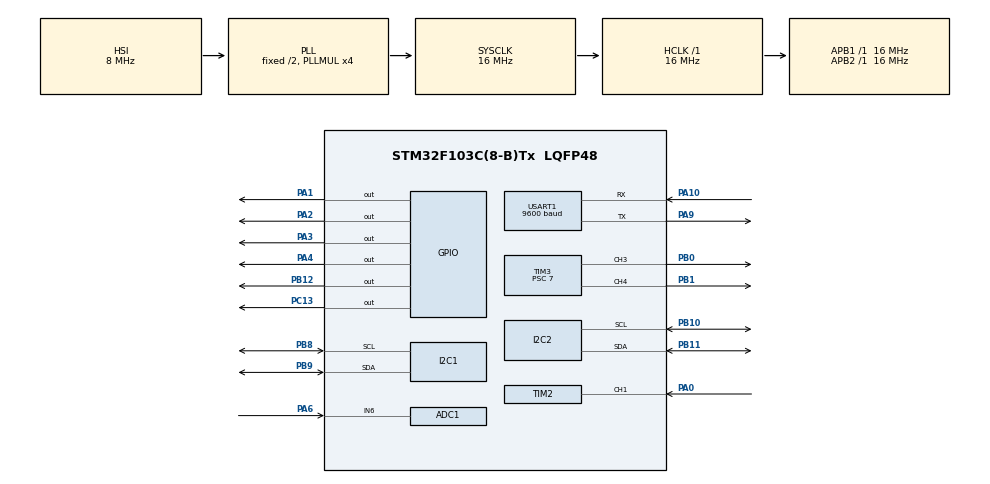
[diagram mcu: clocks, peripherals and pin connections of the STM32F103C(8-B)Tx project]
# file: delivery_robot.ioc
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ADC1.Channel-4\#ChannelRegularConversion=ADC_CHANNEL_6
ADC1.ContinuousConvMode=DISABLE
ADC1.NbrOfConversionFlag=1
ADC1.Rank-4\#ChannelRegularConversion=1
ADC1.SamplingTime-4\#ChannelRegularConversion=ADC_SAMPLETIME_1CYCLE_5
ADC1.master=1
Dma.ADC1.0.Direction=DMA_PERIPH_TO_MEMORY
Dma.ADC1.0.Instance=DMA1_Channel1
Dma.ADC1.0.MemDataAlignment=DMA_MDATAALIGN_HALFWORD
Dma.ADC1.0.MemInc=DMA_MINC_ENABLE
Dma.ADC1.0.Mode=DMA_CIRCULAR
Dma.ADC1.0.PeriphDataAlignment=DMA_PDATAALIGN_HALFWORD
Dma.ADC1.0.PeriphInc=DMA_PINC_DISABLE
Dma.ADC1.0.Priority=DMA_PRIORITY_LOW
Dma.Request0=ADC1
Mcu.Family=STM32F1
Mcu.Name=STM32F103C(8-B)Tx
Mcu.Package=LQFP48
NVIC.DMA1_Channel1_IRQn=true\:0\:0\:false\:false\:true\:false\:true\:true
NVIC.PriorityGroup=NVIC_PRIORITYGROUP_4
NVIC.TIM1_UP_IRQn=true\:0\:0\:false\:false\:true\:true\:true\:true
NVIC.TIM2_IRQn=true\:1\:0\:true\:false\:true\:true\:true\:true
NVIC.USART1_IRQn=true\:3\:0\:true\:false\:true\:true\:true\:true
PA0-WKUP.Signal=S_TIM2_CH1_ETR
PA1.Signal=GPIO_Output
PA10.Mode=Asynchronous
PA10.Signal=USART1_RX
PA13.Mode=Serial_Wire
PA13.Signal=SYS_JTMS-SWDIO
PA14.Mode=Serial_Wire
PA14.Signal=SYS_JTCK-SWCLK
PA2.Signal=GPIO_Output
PA3.Signal=GPIO_Output
PA4.Signal=GPIO_Output
PA6.Signal=ADCx_IN6
PA9.Mode=Asynchronous
PA9.Signal=USART1_TX
PB0.Signal=S_TIM3_CH3
PB1.Signal=S_TIM3_CH4
PB10.Mode=I2C
PB10.Signal=I2C2_SCL
PB11.Mode=I2C
PB11.Signal=I2C2_SDA
PB12.Signal=GPIO_Output
PB8.Mode=I2C
PB8.Signal=I2C1_SCL
PB9.Mode=I2C
PB9.Signal=I2C1_SDA
PC13-TAMPER-RTC.Signal=GPIO_Output
PD0-OSC_IN.Mode=HSE-External-Oscillator
PD0-OSC_IN.Signal=RCC_OSC_IN
PD1-OSC_OUT.Mode=HSE-External-Oscillator
PD1-OSC_OUT.Signal=RCC_OSC_OUT
ProjectManager.HeapSize=0x200
ProjectManager.StackSize=0x400
ProjectManager.TargetToolchain=STM32CubeIDE
RCC.AHBFreq_Value=16000000
RCC.APB1Freq_Value=16000000
RCC.APB1TimFreq_Value=16000000
RCC.APB2Freq_Value=16000000
RCC.APB2TimFreq_Value=16000000
RCC.HCLKFreq_Value=16000000
RCC.PLLMUL=RCC_PLL_MUL4
RCC.SYSCLKFreq_VALUE=16000000
RCC.SYSCLKSource=RCC_SYSCLKSOURCE_PLLCLK
RCC.USBFreq_Value=16000000
SH.ADCx_IN6.0=ADC1_IN6,IN6
SH.S_TIM2_CH1_ETR.0=TIM2_CH1,Input_Capture1_from_TI1
SH.S_TIM3_CH3.0=TIM3_CH3,PWM Generation3 CH3
SH.S_TIM3_CH4.0=TIM3_CH4,PWM Generation4 CH4
TIM1.Period=63999
TIM1.Prescaler=249
TIM2.Channel-Input_Capture1_from_TI1=TIM_CHANNEL_1
TIM2.Period=0xffff-1
TIM2.Prescaler=15
TIM3.Channel-PWM\ Generation3\ CH3=TIM_CHANNEL_3
TIM3.Channel-PWM\ Generation4\ CH4=TIM_CHANNEL_4
TIM3.Period=99
TIM3.Prescaler=7
USART1.BaudRate=9600
USART1.VirtualMode=VM_ASYNC
VP_TIM1_VS_ClockSourceINT.Mode=Internal
VP_TIM3_VS_ClockSourceINT.Mode=Internal
board=custom

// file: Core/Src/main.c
/* USER CODE BEGIN Header */
/**
  ******************************************************************************
  * @file           : main.c
  * @brief          : Main program body
  ******************************************************************************
  * @attention
  *
  * Copyright (c) 2023 STMicroelectronics.
  * All rights reserved.
  *
  * This software is licensed under terms that can be found in the LICENSE file
  * in the root directory of this software component.
  * If no LICENSE file comes with this software, it is provided AS-IS.
  *
  ******************************************************************************
  */
/* USER CODE END Header */
#include "main.h"

/* USER CODE BEGIN Includes */
#include "MPU6050.h"
#include "i2c-lcd.h"
#include "string.h"
#include "math.h"
#include "stdio.h"
#include "stdlib.h"
#include "stdbool.h"
#define TRIG_PIN GPIO_PIN_12
#define TRIG_PORT GPIOB
/* USER CODE END Includes */

ADC_HandleTypeDef hadc1;
DMA_HandleTypeDef hdma_adc1;

I2C_HandleTypeDef hi2c1;
I2C_HandleTypeDef hi2c2;

TIM_HandleTypeDef htim1;
TIM_HandleTypeDef htim2;
TIM_HandleTypeDef htim3;

UART_HandleTypeDef huart1;

/* USER CODE BEGIN PV */
void DISTANCE_LCD(uint32_t);
void processingADC();
uint8_t HCSR04_Read(void);
int changeSpeed(int,int);
void controlSpeed(void);
void driving(void);
void rotate(void);
void DISTANCE(void);
void CAR_STOP(void);
void MPU6050(void);
#define FORWARD_0 0
#define FORWARD_1 1
#define FORWARD_2 2
int routes[3]={FORWARD_0, FORWARD_1,FORWARD_2};
int currentRoute = FORWARD_0;
//////////////////////
//hcsr04
uint32_t IC_Val1 =0;
uint32_t IC_Val2=0;
uint32_t Difference=0;
uint8_t Is_First_Captured =0;
uint8_t Distance =0;
float Dist =0.0;
uint8_t r_data;
char notiString[15]={0};
char data[15]={0};
bool isFinish =false;
bool finishRoute = false;
int routePlanning =1;
//For MPU6050 initialize
float Ax, Ay, Az; //linear acceleration
float Gx, Gy, Gz; //angular velocity
double accAngleX, accAngleY, gyroAngleX, gyroAngleY, gyroAngleZ;
float roll, pitch, yaw;
double AccErrorX, AccErrorY, GyroErrorX, GyroErrorY, GyroErrorZ;
int c=0;
int i=0;

const int maxSpeed = 85;  //78
const int minSpeed = 65;   //65
double angle; //due to how I orientated my MPU6050 on my car, angle = roll
double targetAngle = 0;
int equilibriumSpeed = 75;  //71
int leftSpeedVal;
int rightSpeedVal;
bool isDriving = false; //it the car driving forward OR rotate/stationary
bool prevIsDriving = true; //equals isDriving in the previous iteration of void loop()
//bool paused = false; //is the program paused
float elapsedTime, currentTime, previousTime;
int square =0;
uint32_t readvalue;
// UART transmit buffer
char uartTxBuffer[2] ={};
static int countStraight;
int targetGyroX;

/* USER CODE END PV */

void SystemClock_Config(void);
static void MX_GPIO_Init(void);
static void MX_DMA_Init(void);
static void MX_I2C1_Init(void);
static void MX_I2C2_Init(void);
static void MX_TIM3_Init(void);
static void MX_USART1_UART_Init(void);
static void MX_ADC1_Init(void);
static void MX_TIM1_Init(void);
static void MX_TIM2_Init(void);

/* USER CODE BEGIN 0 */

void HAL_TIM_PeriodElapsedCallback(TIM_HandleTypeDef* htim)
{
	if (htim->Instance == TIM1) {
		uint32_t detect ;
		 processingADC();
         if(readvalue<=3100){
        	 detect =0;
         }else{
        	 detect =1;
         }
		snprintf(uartTxBuffer, 2,"%lu", detect );
	    HAL_UART_Transmit(&huart1, (uint8_t*)uartTxBuffer, strlen(uartTxBuffer), 500);
	    DISTANCE_LCD(detect);
	 }
	else if(htim->Instance == TIM2){
		 Dist = HCSR04_Read();
	 }

}

void HAL_TIM_IC_CaptureCallback(TIM_HandleTypeDef *htim)
{
	if (htim->Channel == HAL_TIM_ACTIVE_CHANNEL_1)  // if the interrupt source is channel1
	{
		if (Is_First_Captured==0) // if the first value is not captured
		{
			IC_Val1 = HAL_TIM_ReadCapturedValue(htim, TIM_CHANNEL_1); // read the first value
			Is_First_Captured = 1;  // set the first captured as true
			// Now change the polarity to falling edge
			__HAL_TIM_SET_CAPTUREPOLARITY(htim, TIM_CHANNEL_1, TIM_INPUTCHANNELPOLARITY_FALLING);
		}

		else if (Is_First_Captured==1)   // if the first is already captured
		{
			IC_Val2 = HAL_TIM_ReadCapturedValue(htim, TIM_CHANNEL_1);  // read second value
			__HAL_TIM_SET_COUNTER(htim, 0);  // reset the counter

			if (IC_Val2 > IC_Val1)
			{
				Difference = IC_Val2-IC_Val1;
			}

			else if (IC_Val1 > IC_Val2)
			{
				Difference = (0xffff - IC_Val1) + IC_Val2;
			}

			Distance = Difference * .034/2;
			Is_First_Captured = 0; // set it back to false

			// set polarity to rising edge
			__HAL_TIM_SET_CAPTUREPOLARITY(htim, TIM_CHANNEL_1, TIM_INPUTCHANNELPOLARITY_RISING);
			__HAL_TIM_DISABLE_IT(&htim2, TIM_IT_CC1);
		}
	}
}

void delay(uint16_t time)
{
	__HAL_TIM_SET_COUNTER(&htim2,0);
	while(__HAL_TIM_GET_COUNTER(&htim2)<time);
}

uint8_t HCSR04_Read (void){
	HAL_GPIO_WritePin(TRIG_PORT, TRIG_PIN, GPIO_PIN_SET);  // pull the TRIG pin HIGH
	delay(10);  // wait for 10 us
	HAL_GPIO_WritePin(TRIG_PORT, TRIG_PIN, GPIO_PIN_RESET);  // pull the TRIG pin low
	__HAL_TIM_ENABLE_IT(&htim2, TIM_IT_CC1);
	return Distance;
}

void DISTANCE_LCD(uint32_t status){
	lcd_goto_XY(2, 0);
	// Clear the previous message
	lcd_send_string("                ");
	switch (status) {
		case 0:
			sprintf(notiString,"NO_PACKAGE");
			break;
		case 1:
			sprintf(notiString,"DELIVERY");
			break;
		default:
			break;
	}
	lcd_goto_XY(2, 0);
	lcd_send_string(notiString);
}

void HAL_UART_RxCpltCallback(UART_HandleTypeDef *huart){
	if(huart->Instance ==USART1){
		//START ROBOT FOR DESTINATION A
		if(r_data == 'a'){
			isDriving =true;
		//START ROBOT FOR DESTINATION B
		}else if(r_data == 'b'){
			isDriving =true;
		//START ROBOT FOR DESTINATION C
		}else if(r_data == 'c'){
			isDriving =true;
			//angleTurnLeft();

		}
		HAL_UART_Receive_IT(&huart1, &r_data, 1);
	}

}

void angleTurnLeft(){
	targetAngle += 90;
	if (targetAngle > 180){
	targetAngle -= 360;
	}
    isFinish =true;
	isDriving = false;
}

void angleTurnRight(){
	targetAngle -= 90;
	if (targetAngle < -180){
	targetAngle += 360;
	}
	isFinish =true;
	isDriving = false;
}

void CAR_FORWARD(){
	HAL_GPIO_WritePin(GPIOA, GPIO_PIN_1, GPIO_PIN_RESET);   //Start for first motor clock wise rotation
	HAL_GPIO_WritePin(GPIOA, GPIO_PIN_2, GPIO_PIN_SET);
	HAL_GPIO_WritePin(GPIOA, GPIO_PIN_3, GPIO_PIN_RESET);   //Start for second motor clock wise rotation
	HAL_GPIO_WritePin(GPIOA, GPIO_PIN_4, GPIO_PIN_SET);
}

void CAR_TURN_RIGHT(){
	HAL_GPIO_WritePin(GPIOA, GPIO_PIN_1, GPIO_PIN_SET);   //Start for FIRST motor clock wise rotation
	HAL_GPIO_WritePin(GPIOA, GPIO_PIN_2, GPIO_PIN_RESET);
	HAL_GPIO_WritePin(GPIOA, GPIO_PIN_3, GPIO_PIN_RESET);   //Start for SECOND motor clock wise rotation
	HAL_GPIO_WritePin(GPIOA, GPIO_PIN_4, GPIO_PIN_SET);
}
void CAR_TURN_LEFT(){
	HAL_GPIO_WritePin(GPIOA, GPIO_PIN_1, GPIO_PIN_RESET);   //Start for FIRST motor clock wise rotation
	HAL_GPIO_WritePin(GPIOA, GPIO_PIN_2, GPIO_PIN_SET);
	HAL_GPIO_WritePin(GPIOA, GPIO_PIN_3, GPIO_PIN_SET);   //Start for SECOND motor clock wise rotation
	HAL_GPIO_WritePin(GPIOA, GPIO_PIN_4, GPIO_PIN_RESET);
}
void CAR_STOP(void){
	HAL_GPIO_WritePin(GPIOA, GPIO_PIN_1, GPIO_PIN_RESET);
	HAL_GPIO_WritePin(GPIOA, GPIO_PIN_2, GPIO_PIN_RESET);
	HAL_GPIO_WritePin(GPIOA, GPIO_PIN_3, GPIO_PIN_RESET);
	HAL_GPIO_WritePin(GPIOA, GPIO_PIN_4, GPIO_PIN_RESET);
	__HAL_TIM_SET_COMPARE(&htim3,TIM_CHANNEL_3,0);
	__HAL_TIM_SET_COMPARE(&htim3,TIM_CHANNEL_4,0);
}

void driving(){
	i++;
	double deltaAngle = angle - targetAngle ; //rounding is neccessary, since you never get exact values in reality
	CAR_FORWARD();
    if(deltaAngle !=0){
    	controlSpeed();
    	rightSpeedVal = equilibriumSpeed;
    	__HAL_TIM_SET_COMPARE(&htim3,TIM_CHANNEL_3,leftSpeedVal);
    	__HAL_TIM_SET_COMPARE(&htim3,TIM_CHANNEL_4,rightSpeedVal);
    }
}

void controlSpeed(){
  double deltaAngle =  angle - targetAngle;
  if(deltaAngle>=2){
	  leftSpeedVal = changeSpeed(leftSpeedVal, round(deltaAngle));
  }else if (deltaAngle<=-2){
	  leftSpeedVal = changeSpeed(leftSpeedVal, round(deltaAngle));
  }
  else{
	  leftSpeedVal = equilibriumSpeed;
	  rightSpeedVal = equilibriumSpeed;
  }

}

void rotate() {
    double deltaAngle = angle - targetAngle;
    int targetGyroX;
    if (abs(deltaAngle) <=1.5) {
        CAR_STOP();
        if (isFinish) {
           // HAL_Delay(500);
            isFinish =false;
            if(routePlanning==1){
                   currentRoute++;
            }else if(routePlanning ==2){
                   currentRoute--;
            }
                   isDriving = true;
         }
        if(finishRoute){
        	finishRoute =false;
        	isDriving=true;
        }

    } else {
    	 if (angle > targetAngle) {
    	            CAR_TURN_RIGHT();
    	} else if (angle < targetAngle) {
    	            CAR_TURN_LEFT();
    	}
        // Adjust target gyroscopic measurement
        if (abs(deltaAngle) < 45) { //10
        	targetGyroX = 2* abs(deltaAngle);

        } else {
        	targetGyroX =20;
        }
        // Proportional control adjustment
        double error = targetGyroX - abs(Gx);
        double adjustment = 0.5 * error;
        if (angle > targetAngle) {
              leftSpeedVal = changeSpeed(leftSpeedVal, -1 + adjustment);

        } else {
              leftSpeedVal = changeSpeed(leftSpeedVal, +1 + adjustment);
                     }
        rightSpeedVal = leftSpeedVal;
        __HAL_TIM_SET_COMPARE(&htim3, TIM_CHANNEL_3, leftSpeedVal);
        __HAL_TIM_SET_COMPARE(&htim3, TIM_CHANNEL_4, rightSpeedVal);
    }

}

int changeSpeed(int motorSpeed, int increment){
	motorSpeed +=increment;
	if(motorSpeed > maxSpeed){
			motorSpeed = maxSpeed;
	}else if(motorSpeed <minSpeed){
		motorSpeed = minSpeed ;
	}
	return motorSpeed;
}

void calculateError(){
	float Q = 0.01;  // Process noise covariance
	float R = 0.1;   // Measurement noise covariance

	// Initialize Kalman filter for X-axis accelerometer
	float xAccel = 0.0;  // Estimated state
	float PAccel = 0.0;  // Estimated error covariance

	// Initialize Kalman filter for Y-axis accelerometer
	float yAccel = 0.0;  // Estimated state
	float YAccel = 0.0;  // Estimated error covariance
	// Initialize Kalman filter for Z-axis accelerometer
    float zAccel = 0.0;  // Estimated state
    float ZAccel = 0.0;  // Estimated error covariance
	c = 0;
	  while (c < 200) {
	    MPU6050_Read_Accel(&Ax, &Ay, &Az);
	    HAL_Delay(1);
	    // Apply Kalman filter to X-axis accelerometer reading
	            float xAccel_pred = xAccel;
	           // float PAccel_pred = PAccel + Q;
	            float KAccel =PAccel + Q / (PAccel + Q + R);
	            xAccel = xAccel_pred + KAccel * (Ax - xAccel_pred);
	            PAccel = (1 - KAccel) * PAccel + Q;
	    // Apply Kalman filter to Y-axis accelerometer reading
	            float yAccel_pred = yAccel;
	           // float YAccel_pred = YAccel + Q;
                float KAccelY = YAccel + Q / (YAccel + Q + R);
	            yAccel = yAccel_pred + KAccelY * (Ay - yAccel_pred);
	            YAccel = (1 - KAccelY) * YAccel + Q;
	   // Apply Kalman filter to Z-axis accelerometer reading
	            float zAccel_pred = zAccel;
	            //float ZAccel_pred = ZAccel + Q;
	            float KAccelZ =ZAccel + Q / (ZAccel + Q + R);
	            zAccel = yAccel_pred + KAccelY * (Az - zAccel_pred);
	            ZAccel = (1 - KAccelZ) * ZAccel + Q;
	    // Sum all readings
	    AccErrorX += (atan((yAccel)/sqrt(pow((xAccel),2)+pow((zAccel),2)))*180/M_PI);
	    AccErrorY += (atan(-1*(xAccel)/sqrt(pow((yAccel),2)+pow((zAccel), 2)))*180/M_PI);
	    c++;
	  }
	  //Divide the sum by 200 to get the error value, since expected value of reading is zero
	  AccErrorX = AccErrorX/200.0;
	  AccErrorY = AccErrorY/200.0;
	  c = 0;

	  // Read gyro values 200 times
	    while (c < 200) {
	      MPU6050_Read_Gyro(&Gx, &Gy, &Gz);
	      HAL_Delay(1);
	      // Sum all readings
	      GyroErrorX += Gx;
	      GyroErrorY += Gy;
	      GyroErrorZ += Gz;
	      c++;
	    }
	    //Divide the sum by 200 to get the error value
	    GyroErrorX = GyroErrorX / 200.0;
	    GyroErrorY = GyroErrorY / 200.0;
	    GyroErrorZ = GyroErrorZ / 200.0;

}

void goForwardandLeft(int numberSquare, int time){
	//NUMBERSQUARE is the number of bricks robot wants to go
	//i is the time for robot go on 2 bricks and go on
	if(square <=numberSquare){
	if(Dist >15){
		if(i<time){
			if (abs(angle-targetAngle) <2){  //3
					          if (countStraight < 20){
					            countStraight ++;
					          } else {
					            countStraight = 0;
					            equilibriumSpeed = leftSpeedVal;
					          }
		    }else {
				countStraight = 0;
			}
			driving();
		}else{
			square+=4;
			i=0;
		}
	}else{
		CAR_STOP();
	}
	}else{
		square = 0;
		if((routePlanning ==1) && (currentRoute <2)){
			angleTurnLeft();
		}
		//CHECK WHEN COMPLETE THE FIRST ROUTE , ROBOT HAS BEEN FINISHED THE FIRST ROUTE THAT LEADS SECOND ROUTE
	    if((currentRoute ==2) && (routePlanning ==1)){
			isDriving = false;
			finishRoute =true;
	    }
		if((routePlanning ==2)){
			angleTurnRight();
		}

	}
}

void processing(){
	static int count;
				  if (count <6){
				    count ++;
				  } else {
				    count = 0;
				      if (isDriving != prevIsDriving){
				          leftSpeedVal = equilibriumSpeed;
				          countStraight = 0;
				      }
                      //START FOR PATH PLANNING A-B-C
					  if (isDriving) {
						  switch (currentRoute) {
							case FORWARD_0:
									goForwardandLeft(16,35); //20

								break;
							case FORWARD_1:
								goForwardandLeft(8, 20); //10
				                break;
							case FORWARD_2:
								if(r_data =='a'){
									goForwardandLeft(16, 33);
								}else if(r_data =='b'){
									goForwardandLeft(12, 20);
								}else if(r_data =='c'){
									goForwardandLeft(4, 12); //6
								}
			                    break;
						}
					  }else {
						//WHEN FINISHING FIRST ROUTE, SET ANGLE TO MAIN NAVIGATION AND START FOR SECOND ROUTE
					  	if(finishRoute){
					  		targetAngle = 0;
					  		routePlanning = 2 ;
					  	}
					  	if((routePlanning ==2)&& (currentRoute ==0)){
					  			targetAngle =0;
					  			}

					  	//WHEN DO NOTHING
					  	rotate();
					  }
					prevIsDriving = isDriving;

				  }

}

void setupMPU6050(){

	    // === Read accelerator (on the MPU6050) data === //
		MPU6050_Read_Accel(&Ax, &Ay, &Az);
		HAL_Delay(1);
		// Calculating Roll and Pitch from the accelerometer data
		accAngleX = (atan((Ay)/sqrt(pow((Ax), 2) + pow((Az), 2)))*180/ M_PI)- AccErrorX; //AccErrorX is calculated in the calculateError() function;
		accAngleY = (atan(-1*(Ax) /sqrt(pow((Ay), 2) + pow((Az), 2)))*180/ M_PI)- AccErrorY;
		// === Read gyroscope (on the MPU6050) data === //
		previousTime = currentTime;
		currentTime = HAL_GetTick()*1000;
		elapsedTime = (currentTime - previousTime)/1000000.0;

		MPU6050_Read_Gyro(&Gx,&Gy,&Gz);
        HAL_Delay(1);
		// Correct the outputs with the calculated error values
		Gx -= GyroErrorX; //GyroErrorX is calculated in the calculateError() function
		Gy -= GyroErrorY;
		Gz -= GyroErrorZ;
		// Currently the raw values are in degrees per seconds, deg/s, so we need to multiply by sendonds (s) to get the angle in degrees
		gyroAngleX += Gx * elapsedTime; // deg/s * s = deg
		gyroAngleY += Gy * elapsedTime;
		yaw += Gz * elapsedTime;

		roll = 0.98 * gyroAngleX + 0.02	* accAngleX;
		pitch = 0.96 * gyroAngleY + 0.04 * accAngleY;
		angle = round(roll * 100) / 100;
}

void processingADC(){
	HAL_ADC_Start_DMA(&hadc1, &readvalue, 1);
}

/* USER CODE END 0 */

int main(void)
{

  /* MCU Configuration--------------------------------------------------------*/

  /* Reset of all peripherals, Initializes the Flash interface and the Systick. */
   HAL_Init();

  /* Configure the system clock */
  SystemClock_Config();

  /* Initialize all configured peripherals */
  MX_GPIO_Init();
  MX_DMA_Init();
  MX_I2C1_Init();
  MX_I2C2_Init();
  MX_TIM3_Init();
  MX_USART1_UART_Init();
  MX_ADC1_Init();
  MX_TIM1_Init();
  MX_TIM2_Init();
  /* USER CODE BEGIN 2 */
  lcd_init();
  lcd_send_string("DELIVERY ROBOT");
  MPU6050_init();
  calculateError();
  HAL_Delay(20);
  HAL_UART_Receive_IT(&huart1,&r_data,1);
  HAL_TIM_IC_Start_IT(&htim2, TIM_CHANNEL_1);
  HAL_TIM_Base_Start_IT(&htim2);
  HAL_TIM_Base_Start_IT(&htim1);                        //Interrupt for Data light sensor
  HAL_TIM_Base_Start(&htim3);							//Initialize stm32 timer 3
  HAL_TIM_PWM_Start(&htim3, TIM_CHANNEL_3);				//PB0 Start pwm second motor( 3-4) 100% duty cycle
  HAL_TIM_PWM_Start(&htim3, TIM_CHANNEL_4);				//PB1 Start pwm first motor( 1-2)  100% duty cycle
  currentTime = HAL_GetTick();

  /* USER CODE END 2 */

  /* Infinite loop */
  while (1)
  {
    /* USER CODE BEGIN 3 */
	setupMPU6050();
	processing();
  }
  /* USER CODE END 3 */
}

void SystemClock_Config(void)
{
  RCC_OscInitTypeDef RCC_OscInitStruct = {0};
  RCC_ClkInitTypeDef RCC_ClkInitStruct = {0};
  RCC_PeriphCLKInitTypeDef PeriphClkInit = {0};

  /** Initializes the RCC Oscillators according to the specified parameters
  * in the RCC_OscInitTypeDef structure.
  */
  RCC_OscInitStruct.OscillatorType = RCC_OSCILLATORTYPE_HSI;
  RCC_OscInitStruct.HSIState = RCC_HSI_ON;
  RCC_OscInitStruct.HSICalibrationValue = RCC_HSICALIBRATION_DEFAULT;
  RCC_OscInitStruct.PLL.PLLState = RCC_PLL_ON;
  RCC_OscInitStruct.PLL.PLLSource = RCC_PLLSOURCE_HSI_DIV2;
  RCC_OscInitStruct.PLL.PLLMUL = RCC_PLL_MUL4;
  if (HAL_RCC_OscConfig(&RCC_OscInitStruct) != HAL_OK)
  {
    Error_Handler();
  }

  /** Initializes the CPU, AHB and APB buses clocks
  */
  RCC_ClkInitStruct.ClockType = RCC_CLOCKTYPE_HCLK|RCC_CLOCKTYPE_SYSCLK
                              |RCC_CLOCKTYPE_PCLK1|RCC_CLOCKTYPE_PCLK2;
  RCC_ClkInitStruct.SYSCLKSource = RCC_SYSCLKSOURCE_PLLCLK;
  RCC_ClkInitStruct.AHBCLKDivider = RCC_SYSCLK_DIV1;
  RCC_ClkInitStruct.APB1CLKDivider = RCC_HCLK_DIV1;
  RCC_ClkInitStruct.APB2CLKDivider = RCC_HCLK_DIV1;

  if (HAL_RCC_ClockConfig(&RCC_ClkInitStruct, FLASH_LATENCY_0) != HAL_OK)
  {
    Error_Handler();
  }
  PeriphClkInit.PeriphClockSelection = RCC_PERIPHCLK_ADC;
  PeriphClkInit.AdcClockSelection = RCC_ADCPCLK2_DIV2;
  if (HAL_RCCEx_PeriphCLKConfig(&PeriphClkInit) != HAL_OK)
  {
    Error_Handler();
  }
}

static void MX_ADC1_Init(void)
{

  ADC_ChannelConfTypeDef sConfig = {0};

  /** Common config
  */
  hadc1.Instance = ADC1;
  hadc1.Init.ScanConvMode = ADC_SCAN_DISABLE;
  hadc1.Init.ContinuousConvMode = DISABLE;
  hadc1.Init.DiscontinuousConvMode = DISABLE;
  hadc1.Init.ExternalTrigConv = ADC_SOFTWARE_START;
  hadc1.Init.DataAlign = ADC_DATAALIGN_RIGHT;
  hadc1.Init.NbrOfConversion = 1;
  if (HAL_ADC_Init(&hadc1) != HAL_OK)
  {
    Error_Handler();
  }

  /** Configure Regular Channel
  */
  sConfig.Channel = ADC_CHANNEL_6;
  sConfig.Rank = ADC_REGULAR_RANK_1;
  sConfig.SamplingTime = ADC_SAMPLETIME_1CYCLE_5;
  if (HAL_ADC_ConfigChannel(&hadc1, &sConfig) != HAL_OK)
  {
    Error_Handler();
  }

}

static void MX_I2C1_Init(void)
{

  hi2c1.Instance = I2C1;
  hi2c1.Init.ClockSpeed = 100000;
  hi2c1.Init.DutyCycle = I2C_DUTYCYCLE_2;
  hi2c1.Init.OwnAddress1 = 0;
  hi2c1.Init.AddressingMode = I2C_ADDRESSINGMODE_7BIT;
  hi2c1.Init.DualAddressMode = I2C_DUALADDRESS_DISABLE;
  hi2c1.Init.OwnAddress2 = 0;
  hi2c1.Init.GeneralCallMode = I2C_GENERALCALL_DISABLE;
  hi2c1.Init.NoStretchMode = I2C_NOSTRETCH_DISABLE;
  if (HAL_I2C_Init(&hi2c1) != HAL_OK)
  {
    Error_Handler();
  }

}

static void MX_I2C2_Init(void)
{

  hi2c2.Instance = I2C2;
  hi2c2.Init.ClockSpeed = 100000;
  hi2c2.Init.DutyCycle = I2C_DUTYCYCLE_2;
  hi2c2.Init.OwnAddress1 = 0;
  hi2c2.Init.AddressingMode = I2C_ADDRESSINGMODE_7BIT;
  hi2c2.Init.DualAddressMode = I2C_DUALADDRESS_DISABLE;
  hi2c2.Init.OwnAddress2 = 0;
  hi2c2.Init.GeneralCallMode = I2C_GENERALCALL_DISABLE;
  hi2c2.Init.NoStretchMode = I2C_NOSTRETCH_DISABLE;
  if (HAL_I2C_Init(&hi2c2) != HAL_OK)
  {
    Error_Handler();
  }

}

static void MX_TIM1_Init(void)
{

  TIM_ClockConfigTypeDef sClockSourceConfig = {0};
  TIM_MasterConfigTypeDef sMasterConfig = {0};

  htim1.Instance = TIM1;
  htim1.Init.Prescaler = 249;
  htim1.Init.CounterMode = TIM_COUNTERMODE_UP;
  htim1.Init.Period = 63999;
  htim1.Init.ClockDivision = TIM_CLOCKDIVISION_DIV1;
  htim1.Init.RepetitionCounter = 0;
  htim1.Init.AutoReloadPreload = TIM_AUTORELOAD_PRELOAD_DISABLE;
  if (HAL_TIM_Base_Init(&htim1) != HAL_OK)
  {
    Error_Handler();
  }
  sClockSourceConfig.ClockSource = TIM_CLOCKSOURCE_INTERNAL;
  if (HAL_TIM_ConfigClockSource(&htim1, &sClockSourceConfig) != HAL_OK)
  {
    Error_Handler();
  }
  sMasterConfig.MasterOutputTrigger = TIM_TRGO_RESET;
  sMasterConfig.MasterSlaveMode = TIM_MASTERSLAVEMODE_DISABLE;
  if (HAL_TIMEx_MasterConfigSynchronization(&htim1, &sMasterConfig) != HAL_OK)
  {
    Error_Handler();
  }

}

static void MX_TIM2_Init(void)
{

  TIM_MasterConfigTypeDef sMasterConfig = {0};
  TIM_IC_InitTypeDef sConfigIC = {0};

  htim2.Instance = TIM2;
  htim2.Init.Prescaler = 15;
  htim2.Init.CounterMode = TIM_COUNTERMODE_UP;
  htim2.Init.Period = 0xffff-1;
  htim2.Init.ClockDivision = TIM_CLOCKDIVISION_DIV1;
  htim2.Init.AutoReloadPreload = TIM_AUTORELOAD_PRELOAD_DISABLE;
  if (HAL_TIM_IC_Init(&htim2) != HAL_OK)
  {
    Error_Handler();
  }
  sMasterConfig.MasterOutputTrigger = TIM_TRGO_RESET;
  sMasterConfig.MasterSlaveMode = TIM_MASTERSLAVEMODE_DISABLE;
  if (HAL_TIMEx_MasterConfigSynchronization(&htim2, &sMasterConfig) != HAL_OK)
  {
    Error_Handler();
  }
  sConfigIC.ICPolarity = TIM_INPUTCHANNELPOLARITY_RISING;
  sConfigIC.ICSelection = TIM_ICSELECTION_DIRECTTI;
  sConfigIC.ICPrescaler = TIM_ICPSC_DIV1;
  sConfigIC.ICFilter = 0;
  if (HAL_TIM_IC_ConfigChannel(&htim2, &sConfigIC, TIM_CHANNEL_1) != HAL_OK)
  {
    Error_Handler();
  }

}

static void MX_TIM3_Init(void)
{

  TIM_ClockConfigTypeDef sClockSourceConfig = {0};
  TIM_MasterConfigTypeDef sMasterConfig = {0};
  TIM_OC_InitTypeDef sConfigOC = {0};

  htim3.Instance = TIM3;
  htim3.Init.Prescaler = 7;
  htim3.Init.CounterMode = TIM_COUNTERMODE_UP;
  htim3.Init.Period = 99;
  htim3.Init.ClockDivision = TIM_CLOCKDIVISION_DIV1;
  htim3.Init.AutoReloadPreload = TIM_AUTORELOAD_PRELOAD_DISABLE;
  if (HAL_TIM_Base_Init(&htim3) != HAL_OK)
  {
    Error_Handler();
  }
  sClockSourceConfig.ClockSource = TIM_CLOCKSOURCE_INTERNAL;
  if (HAL_TIM_ConfigClockSource(&htim3, &sClockSourceConfig) != HAL_OK)
  {
    Error_Handler();
  }
  if (HAL_TIM_PWM_Init(&htim3) != HAL_OK)
  {
    Error_Handler();
  }
  sMasterConfig.MasterOutputTrigger = TIM_TRGO_RESET;
  sMasterConfig.MasterSlaveMode = TIM_MASTERSLAVEMODE_DISABLE;
  if (HAL_TIMEx_MasterConfigSynchronization(&htim3, &sMasterConfig) != HAL_OK)
  {
    Error_Handler();
  }
  sConfigOC.OCMode = TIM_OCMODE_PWM1;
  sConfigOC.Pulse = 0;
  sConfigOC.OCPolarity = TIM_OCPOLARITY_HIGH;
  sConfigOC.OCFastMode = TIM_OCFAST_DISABLE;
  if (HAL_TIM_PWM_ConfigChannel(&htim3, &sConfigOC, TIM_CHANNEL_3) != HAL_OK)
  {
    Error_Handler();
  }
  if (HAL_TIM_PWM_ConfigChannel(&htim3, &sConfigOC, TIM_CHANNEL_4) != HAL_OK)
  {
    Error_Handler();
  }
  HAL_TIM_MspPostInit(&htim3);

}

static void MX_USART1_UART_Init(void)
{

  huart1.Instance = USART1;
  huart1.Init.BaudRate = 9600;
  huart1.Init.WordLength = UART_WORDLENGTH_8B;
  huart1.Init.StopBits = UART_STOPBITS_1;
  huart1.Init.Parity = UART_PARITY_NONE;
  huart1.Init.Mode = UART_MODE_TX_RX;
  huart1.Init.HwFlowCtl = UART_HWCONTROL_NONE;
  huart1.Init.OverSampling = UART_OVERSAMPLING_16;
  if (HAL_UART_Init(&huart1) != HAL_OK)
  {
    Error_Handler();
  }

}

static void MX_DMA_Init(void)
{

  /* DMA controller clock enable */
  __HAL_RCC_DMA1_CLK_ENABLE();

  /* DMA interrupt init */
  /* DMA1_Channel1_IRQn interrupt configuration */
  HAL_NVIC_SetPriority(DMA1_Channel1_IRQn, 0, 0);
  HAL_NVIC_EnableIRQ(DMA1_Channel1_IRQn);

}

static void MX_GPIO_Init(void)
{
  GPIO_InitTypeDef GPIO_InitStruct = {0};

  /* GPIO Ports Clock Enable */
  __HAL_RCC_GPIOC_CLK_ENABLE();
  __HAL_RCC_GPIOD_CLK_ENABLE();
  __HAL_RCC_GPIOA_CLK_ENABLE();
  __HAL_RCC_GPIOB_CLK_ENABLE();

  /*Configure GPIO pin Output Level */
  HAL_GPIO_WritePin(GPIOC, GPIO_PIN_13, GPIO_PIN_RESET);

  /*Configure GPIO pin Output Level */
  HAL_GPIO_WritePin(GPIOA, GPIO_PIN_1|GPIO_PIN_2|GPIO_PIN_3|GPIO_PIN_4, GPIO_PIN_RESET);

  /*Configure GPIO pin Output Level */
  HAL_GPIO_WritePin(GPIOB, GPIO_PIN_12, GPIO_PIN_RESET);

  /*Configure GPIO pin : PC13 */
  GPIO_InitStruct.Pin = GPIO_PIN_13;
  GPIO_InitStruct.Mode = GPIO_MODE_OUTPUT_PP;
  GPIO_InitStruct.Pull = GPIO_NOPULL;
  GPIO_InitStruct.Speed = GPIO_SPEED_FREQ_LOW;
  HAL_GPIO_Init(GPIOC, &GPIO_InitStruct);

  /*Configure GPIO pins : PA1 PA2 PA3 PA4 */
  GPIO_InitStruct.Pin = GPIO_PIN_1|GPIO_PIN_2|GPIO_PIN_3|GPIO_PIN_4;
  GPIO_InitStruct.Mode = GPIO_MODE_OUTPUT_PP;
  GPIO_InitStruct.Pull = GPIO_NOPULL;
  GPIO_InitStruct.Speed = GPIO_SPEED_FREQ_LOW;
  HAL_GPIO_Init(GPIOA, &GPIO_InitStruct);

  /*Configure GPIO pin : PB12 */
  GPIO_InitStruct.Pin = GPIO_PIN_12;
  GPIO_InitStruct.Mode = GPIO_MODE_OUTPUT_PP;
  GPIO_InitStruct.Pull = GPIO_NOPULL;
  GPIO_InitStruct.Speed = GPIO_SPEED_FREQ_LOW;
  HAL_GPIO_Init(GPIOB, &GPIO_InitStruct);

}

void Error_Handler(void)
{
  __disable_irq();
  while (1)
  {
  }
}
